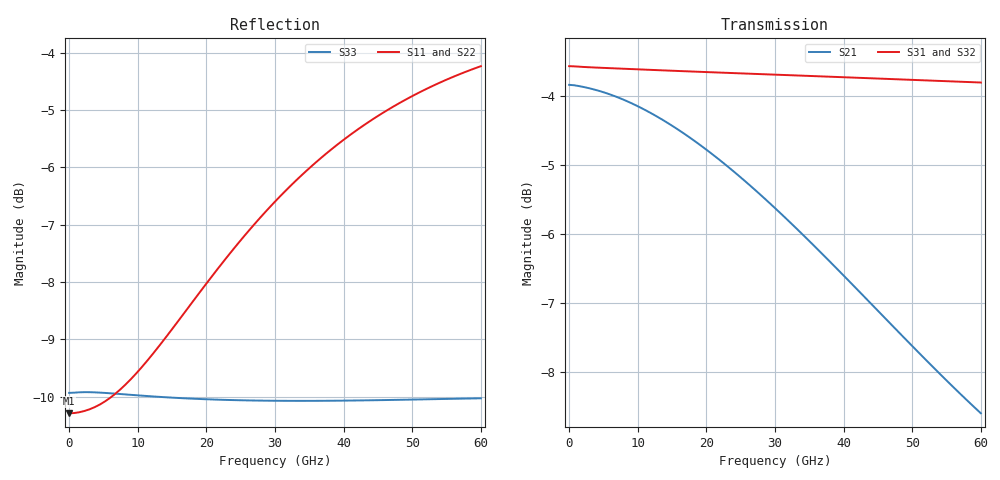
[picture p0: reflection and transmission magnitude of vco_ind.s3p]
#  GHZ S DB R 50
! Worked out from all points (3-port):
!   82 points, 10 MHz to 60 GHz, reference 50 ohm
!   strongest paths, dB at 10 MHz, 14.25 GHz, 30 GHz, 45 GHz, 60 GHz:
!     S31: -3.6, -3.6, -3.7, -3.7, -3.8
!     S32: -3.7, -3.7, -3.8, -3.8, -3.9
!     S21: -3.8, -4.4, -5.6, -7.1, -8.6
!   lowest |S11| = -10.3 dB at 10 MHz (marker M1), VSWR 1.88, Z = 26.6 + j0.0145 ohm
!   |S11| at or under -10 dB: start of sweep to 6.196 GHz
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0.01  -10.29 180.0  -3.84 -0.0  -3.57 -0.0
      -3.84 -0.0  -10.51 180.0  -3.67 -0.0
      -3.57 -0.0  -3.67 -0.0  -9.93 180.0
3.75  -10.18 162.7  -3.91 -8.2  -3.59 -1.4
      -3.91 -8.2  -10.39 162.4  -3.69 -1.4
      -3.59 -1.4  -3.69 -1.4  -9.92 176.9
7.5  -9.87 146.5  -4.04 -16.1  -3.60 -2.8
     -4.04 -16.1  -10.05 145.9  -3.70 -2.7
     -3.60 -2.8  -3.70 -2.7  -9.95 173.9
15.75  -8.70 116.4  -4.48 -32.8  -3.64 -5.6
       -4.48 -32.8  -8.82 115.4  -3.73 -5.6
       -3.64 -5.6  -3.73 -5.6  -10.02 167.6
23.25  -7.53 95.2  -5.03 -47.4  -3.67 -8.2
       -5.03 -47.4  -7.60 94.1  -3.75 -8.1
       -3.67 -8.2  -3.75 -8.1  -10.06 162.2
30.75  -6.51 78.2  -5.69 -61.6  -3.69 -10.7
       -5.69 -61.6  -6.55 77.0  -3.78 -10.7
       -3.69 -10.7  -3.78 -10.7  -10.07 156.9
36.75  -5.83 66.7  -6.28 -72.7  -3.72 -12.7
       -6.28 -72.7  -5.86 65.6  -3.79 -12.7
       -3.72 -12.7  -3.79 -12.7  -10.07 152.7
43.5  -5.22 55.5  -6.96 -85.0  -3.74 -15.1
      -6.96 -85.0  -5.24 54.3  -3.81 -15.1
      -3.74 -15.1  -3.81 -15.1  -10.06 148.1
51.75  -4.65 43.5  -7.80 -100.1  -3.77 -17.9
       -7.80 -100.1  -4.66 42.2  -3.84 -18.0
       -3.77 -17.9  -3.84 -18.0  -10.05 142.5
60  -4.24 32.9  -8.60 -115.3  -3.81 -20.9
    -8.60 -115.3  -4.24 31.6  -3.86 -21.0
    -3.81 -20.9  -3.86 -21.0  -10.03 137.1
